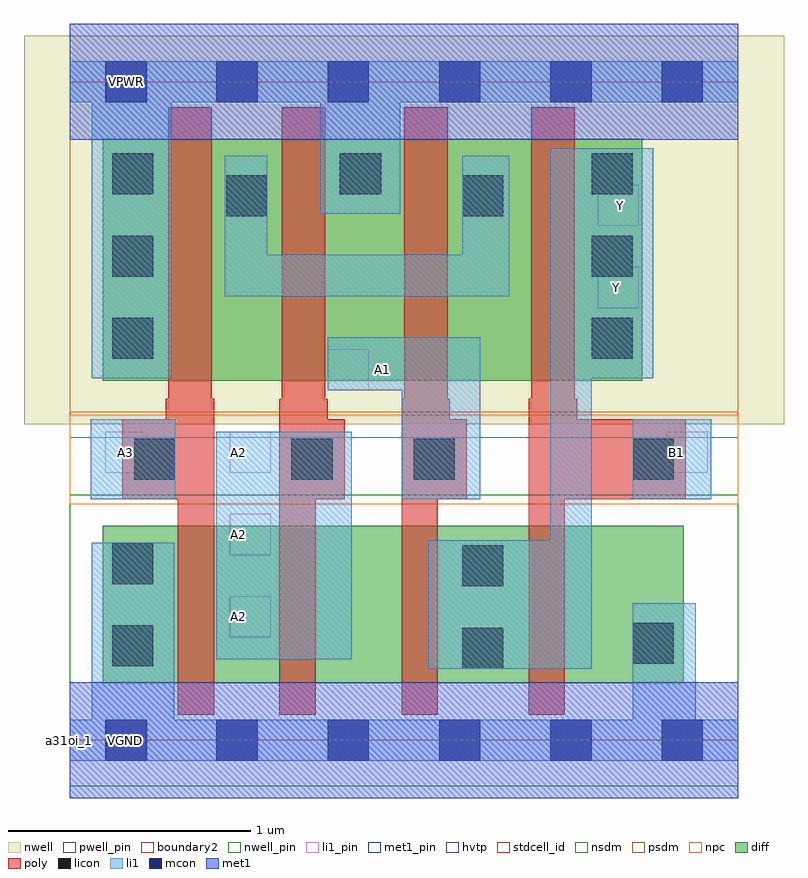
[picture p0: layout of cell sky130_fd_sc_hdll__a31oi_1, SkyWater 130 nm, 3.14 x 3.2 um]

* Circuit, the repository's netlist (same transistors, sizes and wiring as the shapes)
* Copyright 2020 The SkyWater PDK Authors
*
* Licensed under the Apache License, Version 2.0 (the "License");
* you may not use this file except in compliance with the License.
* You may obtain a copy of the License at
*
*     https://www.apache.org/licenses/LICENSE-2.0
*
* Unless required by applicable law or agreed to in writing, software
* distributed under the License is distributed on an "AS IS" BASIS,
* WITHOUT WARRANTIES OR CONDITIONS OF ANY KIND, either express or implied.
* See the License for the specific language governing permissions and
* limitations under the License.
*
* SPDX-License-Identifier: Apache-2.0

.SUBCKT sky130_fd_sc_hdll__a31oi_1 A1 A2 A3 B1 VGND VNB VPB VPWR Y
*.PININFO A1:I A2:I A3:I B1:I VGND:I VNB:I VPB:I VPWR:I Y:O
MMPA0 pndA A1 VPWR VPB sky130_fd_pr__pfet_01v8_hvt m=1 w=1.0U l=0.18U mult=1 sa=0.265
+ sb=0.265 sd=0.28 area=0.063 perim=1.14
MMPA1 pndA A2 VPWR VPB sky130_fd_pr__pfet_01v8_hvt m=1 w=1.0U l=0.18U mult=1 sa=0.265
+ sb=0.265 sd=0.28 area=0.063 perim=1.14
MMPA2 pndA A3 VPWR VPB sky130_fd_pr__pfet_01v8_hvt m=1 w=1.0U l=0.18U mult=1 sa=0.265
+ sb=0.265 sd=0.28 area=0.063 perim=1.14
MMPB0 Y B1 pndA VPB sky130_fd_pr__pfet_01v8_hvt m=1 w=1.0U l=0.18U mult=1 sa=0.265
+ sb=0.265 sd=0.28 area=0.063 perim=1.14
MMNA0 Y A1 sndA1 VNB sky130_fd_pr__nfet_01v8 m=1 w=0.65U l=0.15U mult=1 sa=0.265
+ sb=0.265 sd=0.28 area=0.063 perim=1.14
MMNA1 sndA1 A2 sndA2 VNB sky130_fd_pr__nfet_01v8 m=1 w=0.65U l=0.15U mult=1 sa=0.265
+ sb=0.265 sd=0.28 area=0.063 perim=1.14
MMNA2 sndA2 A3 VGND VNB sky130_fd_pr__nfet_01v8 m=1 w=0.65U l=0.15U mult=1 sa=0.265
+ sb=0.265 sd=0.28 area=0.063 perim=1.14
MMNB0 Y B1 VGND VNB sky130_fd_pr__nfet_01v8 m=1 w=0.65U l=0.15U mult=1 sa=0.265
+ sb=0.265 sd=0.28 area=0.063 perim=1.14
.ENDS sky130_fd_sc_hdll__a31oi_1

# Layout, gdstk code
import gdstk
lib = gdstk.Library(unit=1e-6, precision=1e-09)
def R(c, l, rs):  # rectangles x0, y0, x1, y1
    for r in rs: c.add(gdstk.rectangle(r[:2], r[2:], *l))
def A(c, l, x, y, w, h, nx, ny, dx, dy):  # array of equal rectangles
    R(c, l, [(x+i*dx, y+j*dy, x+i*dx+w, y+j*dy+h) for i in range(nx) for j in range(ny)])
def P(c, l, *ps):  # polygons
    for p in ps: c.add(gdstk.Polygon(p, *l))
nwell_pin = (64, 16)
nwell = (64, 20)
diff = (65, 20)
poly = (66, 20)
licon = (66, 44)
li1_pin = (67, 16)
li1 = (67, 20)
mcon = (67, 44)
met1_pin = (68, 16)
met1 = (68, 20)
hvtp = (78, 44)
stdcell_id = (81, 4)
nsdm = (93, 44)
psdm = (94, 20)
npc = (95, 20)
pwell_pin = (122, 16)
boundary2 = (236, 0)

sky130_fd_sc_hdll__a31oi = lib.new_cell('sky130_fd_sc_hdll__a31oi_1')
R(sky130_fd_sc_hdll__a31oi, nwell_pin, [(0.15,2.635,0.32,2.805)])
R(sky130_fd_sc_hdll__a31oi, nwell, [(-0.19,1.305,2.95,2.91)])
R(sky130_fd_sc_hdll__a31oi, diff, [(0.135,0.235,2.535,0.885), (0.135,1.485,2.365,2.485)])
P(sky130_fd_sc_hdll__a31oi, poly, [(0.595,1.41),(0.585,1.41),(0.585,2.615),(0.405,2.615),(0.405,1.41),(0.395,1.41),(0.395,1.325),(0.215,1.325),(0.215,0.995),(0.445,0.995),(0.445,0.105),(0.595,0.105)],
  [(1.135,1.325),(1.065,1.325),(1.065,1.41),(1.055,1.41),(1.055,2.615),(0.875,2.615),(0.875,1.41),(0.865,1.41),(0.865,0.105),(1.015,0.105),(1.015,0.995),(1.135,0.995)],
  [(1.64,1.325),(1.57,1.325),(1.57,1.41),(1.56,1.41),(1.56,2.615),(1.38,2.615),(1.38,1.41),(1.37,1.41),(1.37,0.105),(1.52,0.105),(1.52,0.995),(1.64,0.995)],
  [(2.545,1.325),(2.095,1.325),(2.095,1.41),(2.085,1.41),(2.085,2.615),(1.905,2.615),(1.905,1.41),(1.895,1.41),(1.895,0.105),(2.045,0.105),(2.045,0.995),(2.545,0.995)])
A(sky130_fd_sc_hdll__a31oi, licon, 0.175, 1.575, 0.17, 0.17, 1, 3, 0, 0.34)
A(sky130_fd_sc_hdll__a31oi, licon, 2.155, 1.575, 0.17, 0.17, 1, 3, 0, 0.34)
R(sky130_fd_sc_hdll__a31oi, licon, [(1.62,0.295,1.79,0.465), (0.175,0.305,0.345,0.475), (2.325,0.315,2.495,0.485), (1.62,0.635,1.79,0.805), (0.175,0.645,0.345,0.815), (0.265,1.075,0.435,1.245), (0.915,1.075,1.085,1.245), (1.42,1.075,1.59,1.245), (2.325,1.075,2.495,1.245), (0.645,2.165,0.815,2.335), (1.62,2.165,1.79,2.335), (1.115,2.255,1.285,2.425)])
A(sky130_fd_sc_hdll__a31oi, li1_pin, 0.66, 0.425, 0.17, 0.17, 1, 3, 0, 0.34)
R(sky130_fd_sc_hdll__a31oi, li1_pin, [(0.145,1.105,0.315,1.275), (2.465,1.105,2.635,1.275), (1.065,1.445,1.235,1.615), (2.18,1.785,2.35,1.955), (2.18,2.125,2.35,2.295)])
R(sky130_fd_sc_hdll__a31oi, li1, [(0.605,0.335,1.165,1.275), (0.085,0.995,0.435,1.325), (2.325,0.995,2.65,1.325)])
P(sky130_fd_sc_hdll__a31oi, li1, [(2.76,0.085),(2.585,0.085),(2.585,0.565),(2.325,0.565),(2.325,0.085),(0.43,0.085),(0.43,0.815),(0.09,0.815),(0.09,0.085),(0,0.085),(0,-0.085),(2.76,-0.085)],
  [(2.76,2.805),(0,2.805),(0,2.635),(0.09,2.635),(0.09,1.495),(0.42,1.495),(0.42,2.635),(1.035,2.635),(1.035,2.175),(1.365,2.175),(1.365,2.635),(2.76,2.635)],
  [(1.695,1.665),(1.065,1.665),(1.065,1.445),(1.37,1.445),(1.37,0.995),(1.695,0.995)],
  [(1.815,2.415),(1.62,2.415),(1.62,2.005),(0.815,2.005),(0.815,2.415),(0.64,2.415),(0.64,1.835),(1.815,1.835)],
  [(2.41,2.445),(1.985,2.445),(1.985,0.825),(1.48,0.825),(1.48,0.295),(2.155,0.295),(2.155,1.495),(2.41,1.495)])
A(sky130_fd_sc_hdll__a31oi, mcon, 0.145, -0.085, 0.17, 0.17, 6, 2, 0.46, 2.72)
R(sky130_fd_sc_hdll__a31oi, met1_pin, [(0.15,-0.085,0.32,0.085), (0.15,2.635,0.32,2.805)])
R(sky130_fd_sc_hdll__a31oi, met1, [(0,-0.24,2.76,0.24), (0,2.48,2.76,2.96)])
R(sky130_fd_sc_hdll__a31oi, hvtp, [(0,1.25,2.76,2.72)])
R(sky130_fd_sc_hdll__a31oi, stdcell_id, [(0,0,2.76,2.72)])
R(sky130_fd_sc_hdll__a31oi, nsdm, [(0,-0.19,2.76,1.015)])
R(sky130_fd_sc_hdll__a31oi, psdm, [(0,1.355,2.76,2.91)])
R(sky130_fd_sc_hdll__a31oi, npc, [(0,0.975,2.76,1.345)])
R(sky130_fd_sc_hdll__a31oi, pwell_pin, [(0.15,-0.085,0.32,0.085)])
R(sky130_fd_sc_hdll__a31oi, boundary2, [(0,0,2.76,2.72)])
sky130_fd_sc_hdll__a31oi.add(gdstk.Label('VGND', (0.23,0), layer=68, texttype=5))
sky130_fd_sc_hdll__a31oi.add(gdstk.Label('VPWR', (0.235,2.72), layer=68, texttype=5))
sky130_fd_sc_hdll__a31oi.add(gdstk.Label('Y', (2.275,2.21), layer=67, texttype=5))
sky130_fd_sc_hdll__a31oi.add(gdstk.Label('Y', (2.26,1.87), layer=67, texttype=5))
sky130_fd_sc_hdll__a31oi.add(gdstk.Label('B1', (2.505,1.19), layer=67, texttype=5))
sky130_fd_sc_hdll__a31oi.add(gdstk.Label('A2', (0.695,1.19), layer=67, texttype=5))
sky130_fd_sc_hdll__a31oi.add(gdstk.Label('A2', (0.695,0.85), layer=67, texttype=5))
sky130_fd_sc_hdll__a31oi.add(gdstk.Label('A1', (1.29,1.53), layer=67, texttype=5))
sky130_fd_sc_hdll__a31oi.add(gdstk.Label('A2', (0.695,0.51), layer=67, texttype=5))
sky130_fd_sc_hdll__a31oi.add(gdstk.Label('A3', (0.23,1.19), layer=67, texttype=5))
sky130_fd_sc_hdll__a31oi.add(gdstk.Label('VPB', (0.235,2.72), layer=64, texttype=5))
sky130_fd_sc_hdll__a31oi.add(gdstk.Label('VNB', (0.235,0), layer=64, texttype=59))
sky130_fd_sc_hdll__a31oi.add(gdstk.Label('a31oi_1', (0,0), layer=83, texttype=44))

lib.write_gds('sky130_fd_sc_hdll__a31oi_1.gds')
